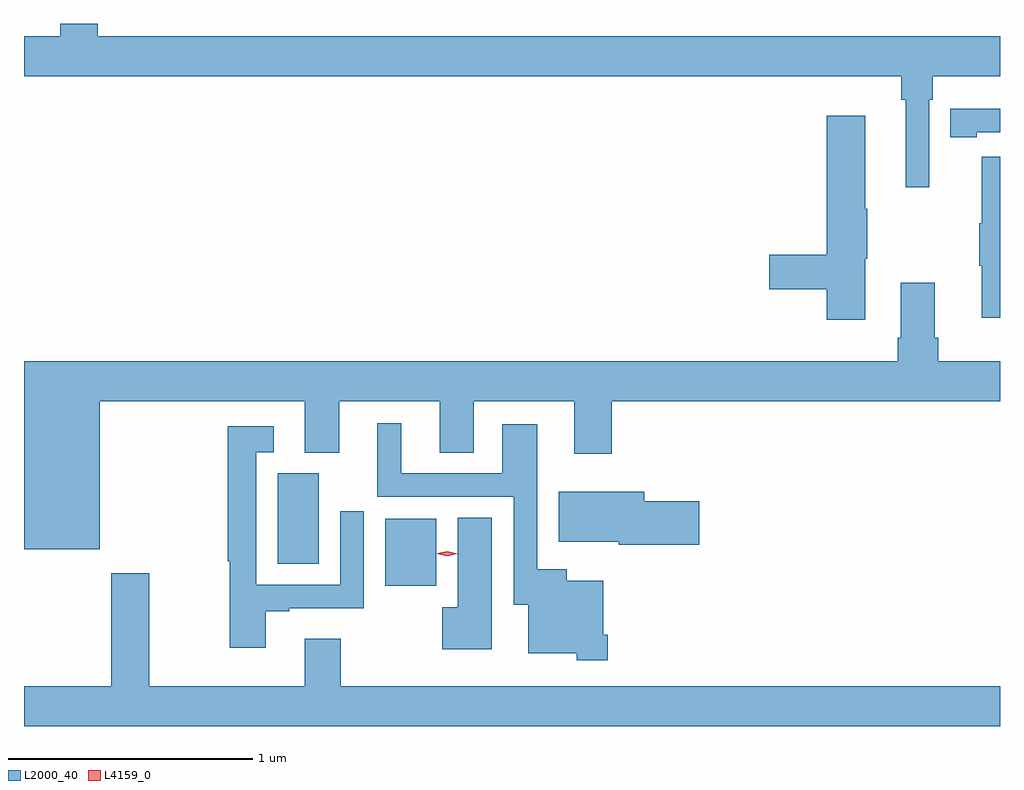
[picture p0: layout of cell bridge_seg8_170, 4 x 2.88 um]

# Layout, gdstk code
import gdstk
lib = gdstk.Library(unit=1e-6, precision=1e-09)
def R(c, l, rs):  # rectangles x0, y0, x1, y1
    for r in rs: c.add(gdstk.rectangle(r[:2], r[2:], *l))
def P(c, l, *ps):  # polygons
    for p in ps: c.add(gdstk.Polygon(p, *l))
L2000_40 = (2000, 40)
L4159_0 = (4159, 0)

bridge_seg8_170 = lib.new_cell('bridge_seg8_170')
R(bridge_seg8_170, L2000_40, [(614.867,1101.092,615.076,1101.367), (614.426,1101.181,614.593,1101.552)])
P(bridge_seg8_170, L2000_40, [(617.097,1103.084),(617.111,1103.084),(617.111,1103.18),(617.386,1103.18),(617.386,1103.344),(613.688,1103.344),(613.688,1103.395),(613.535,1103.395),(613.535,1103.344),(613.386,1103.344),(613.386,1103.18),(616.981,1103.18),(616.981,1103.084),(617,1103.084),(617,1102.725),(617.097,1102.725)],
  [(617.29,1102.95),(617.386,1102.95),(617.386,1103.047),(617.29,1103.047),(617.29,1103.046),(617.182,1103.046),(617.182,1102.93),(617.29,1102.93)],
  [(616.834,1102.431),(616.842,1102.431),(616.842,1102.637),(616.834,1102.637),(616.834,1103.017),(616.676,1103.017),(616.676,1102.448),(616.44,1102.448),(616.44,1102.306),(616.676,1102.306),(616.676,1102.182),(616.834,1102.182)],
  [(617.386,1102.849),(617.312,1102.849),(617.312,1102.577),(617.301,1102.577),(617.301,1102.403),(617.312,1102.403),(617.312,1102.191),(617.386,1102.191)],
  [(613.386,1101.242),(613.696,1101.242),(613.696,1101.848),(614.537,1101.848),(614.537,1101.637),(614.677,1101.637),(614.677,1101.848),(615.089,1101.848),(615.089,1101.637),(615.229,1101.637),(615.229,1101.848),(615.641,1101.848),(615.641,1101.633),(615.794,1101.633),(615.794,1101.848),(617.386,1101.848),(617.386,1102.012),(617.132,1102.012),(617.132,1102.108),(617.119,1102.108),(617.119,1102.333),(616.979,1102.333),(616.979,1102.108),(616.967,1102.108),(616.967,1102.012),(613.386,1102.012)],
  [(615.779,1100.89),(615.76,1100.89),(615.76,1101.112),(615.61,1101.112),(615.61,1101.16),(615.489,1101.16),(615.489,1101.754),(615.347,1101.754),(615.347,1101.552),(614.932,1101.552),(614.932,1101.757),(614.833,1101.757),(614.833,1101.456),(615.393,1101.456),(615.393,1101.014),(615.452,1101.014),(615.452,1100.816),(615.651,1100.816),(615.651,1100.786),(615.779,1100.786)],
  [(614.377,1100.988),(614.473,1100.988),(614.473,1101),(614.778,1101),(614.778,1101.397),(614.682,1101.397),(614.682,1101.096),(614.337,1101.096),(614.337,1101.639),(614.41,1101.639),(614.41,1101.745),(614.221,1101.745),(614.221,1101.193),(614.229,1101.193),(614.229,1100.838),(614.377,1100.838)],
  [(616.153,1101.438),(615.928,1101.438),(615.928,1101.478),(615.578,1101.478),(615.578,1101.272),(615.824,1101.272),(615.824,1101.26),(616.153,1101.26)],
  [(615.304,1101.371),(615.164,1101.371),(615.164,1101.004),(615.101,1101.004),(615.101,1100.831),(615.304,1100.831)],
  [(617.386,1100.68),(614.685,1100.68),(614.685,1100.875),(614.537,1100.875),(614.537,1100.68),(613.899,1100.68),(613.899,1101.142),(613.744,1101.142),(613.744,1100.68),(613.386,1100.68),(613.386,1100.516),(617.386,1100.516)])
P(bridge_seg8_170, L4159_0, [(615.121,1101.213),(615.08,1101.223),(615.08,1101.223),(615.08,1101.224),(615.121,1101.233),(615.162,1101.223),(615.162,1101.222),(615.162,1101.222)])

lib.write_gds('bridge_seg8_170.gds')
